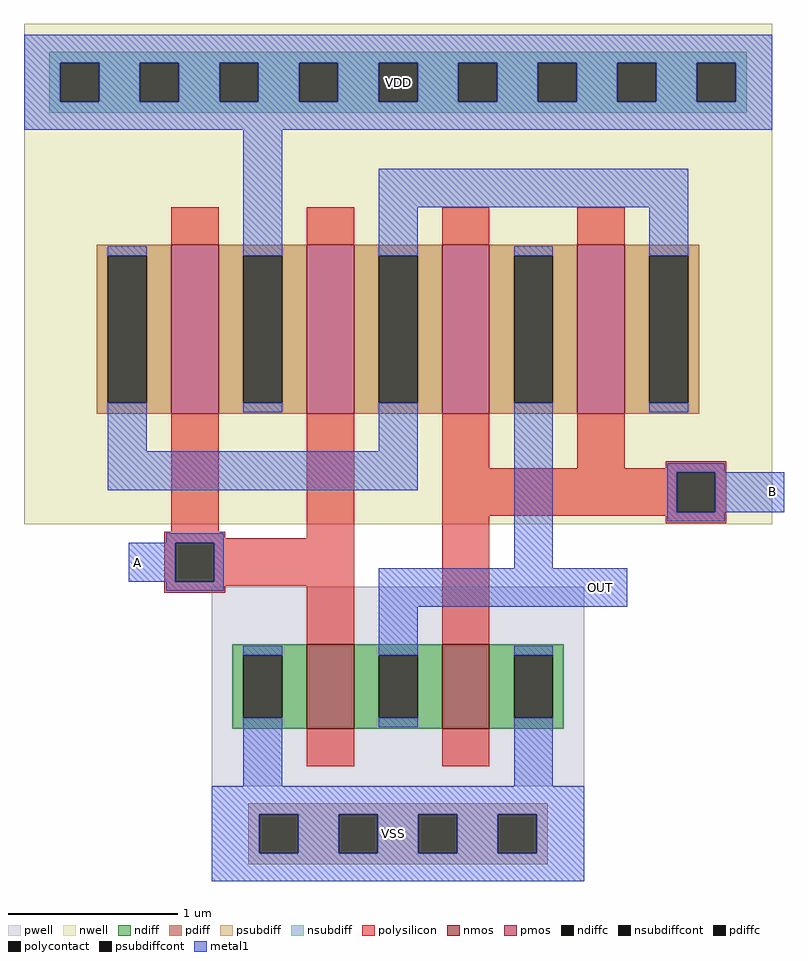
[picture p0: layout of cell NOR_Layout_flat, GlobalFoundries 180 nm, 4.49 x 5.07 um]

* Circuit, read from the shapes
.subckt NOR_Layout_flat A B OUT VDD VSS
XM1 OUT A VSS VSS nfet_03v3 w=0.5u l=0.28u
XM2 VSS B OUT VSS nfet_03v3 w=0.5u l=0.28u
XM3 VDD A n1 VDD pfet_03v3 w=1u l=0.28u m=2
XM4 OUT B n1 VDD pfet_03v3 w=1u l=0.28u m=2
.ends

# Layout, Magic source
magic
tech gf180mcuC
magscale 1 10
<< nwell >>
rect 0 310 884 901
<< pwell >>
rect 222 0 662 236
<< nmos >>
rect 334 68 390 168
rect 494 68 550 168
<< pmos >>
rect 174 440 230 640
rect 334 440 390 640
rect 494 440 550 640
rect 654 440 710 640
<< ndiff >>
rect 246 155 334 168
rect 246 81 259 155
rect 305 81 334 155
rect 246 68 334 81
rect 390 155 494 168
rect 390 81 419 155
rect 465 81 494 155
rect 390 68 494 81
rect 550 155 638 168
rect 550 81 579 155
rect 625 81 638 155
rect 550 68 638 81
<< pdiff >>
rect 86 627 174 640
rect 86 453 99 627
rect 145 453 174 627
rect 86 440 174 453
rect 230 627 334 640
rect 230 453 259 627
rect 305 453 334 627
rect 230 440 334 453
rect 390 627 494 640
rect 390 453 419 627
rect 465 453 494 627
rect 390 440 494 453
rect 550 627 654 640
rect 550 453 579 627
rect 625 453 654 627
rect 550 440 654 453
rect 710 627 798 640
rect 710 453 739 627
rect 785 453 798 627
rect 710 440 798 453
<< ndiffc >>
rect 259 81 305 155
rect 419 81 465 155
rect 579 81 625 155
<< pdiffc >>
rect 99 453 145 627
rect 259 453 305 627
rect 419 453 465 627
rect 579 453 625 627
rect 739 453 785 627
<< psubdiff >>
rect 265 -33 619 -20
rect 265 -79 278 -33
rect 324 -79 372 -33
rect 418 -79 466 -33
rect 512 -79 560 -33
rect 606 -79 619 -33
rect 265 -92 619 -79
<< nsubdiff >>
rect 30 855 854 868
rect 30 809 43 855
rect 89 809 137 855
rect 183 809 231 855
rect 277 809 325 855
rect 371 809 419 855
rect 465 809 513 855
rect 559 809 607 855
rect 653 809 701 855
rect 747 809 795 855
rect 841 809 854 855
rect 30 796 854 809
<< psubdiffcont >>
rect 278 -79 324 -33
rect 372 -79 418 -33
rect 466 -79 512 -33
rect 560 -79 606 -33
<< nsubdiffcont >>
rect 43 809 89 855
rect 137 809 183 855
rect 231 809 277 855
rect 325 809 371 855
rect 419 809 465 855
rect 513 809 559 855
rect 607 809 653 855
rect 701 809 747 855
rect 795 809 841 855
<< polysilicon >>
rect 174 640 230 684
rect 334 640 390 684
rect 494 640 550 684
rect 654 640 710 684
rect 174 301 230 440
rect 166 293 238 301
rect 334 293 390 440
rect 166 288 390 293
rect 166 242 179 288
rect 225 242 390 288
rect 166 237 390 242
rect 166 229 238 237
rect 334 168 390 237
rect 494 376 550 440
rect 654 376 710 440
rect 758 376 830 384
rect 494 371 830 376
rect 494 324 771 371
rect 817 324 830 371
rect 494 320 830 324
rect 494 168 550 320
rect 758 311 830 320
rect 334 24 390 68
rect 494 24 550 68
<< polycontact >>
rect 179 242 225 288
rect 771 324 817 371
<< metal1 >>
rect 0 855 884 888
rect 0 809 43 855
rect 89 809 137 855
rect 183 809 231 855
rect 277 809 325 855
rect 371 809 419 855
rect 465 809 513 855
rect 559 809 607 855
rect 653 809 701 855
rect 747 809 795 855
rect 841 809 884 855
rect 0 776 884 809
rect 99 627 145 638
rect 99 396 145 453
rect 259 627 305 776
rect 259 442 305 453
rect 419 684 785 730
rect 419 627 465 684
rect 419 396 465 453
rect 99 350 465 396
rect 579 627 625 638
rect 168 288 236 299
rect 124 242 179 288
rect 225 242 236 288
rect 579 258 625 453
rect 739 627 785 684
rect 739 442 785 453
rect 760 371 828 382
rect 760 324 771 371
rect 817 324 898 371
rect 760 313 828 324
rect 168 231 236 242
rect 419 212 713 258
rect 259 155 305 166
rect 259 0 305 81
rect 419 155 465 212
rect 419 70 465 81
rect 579 155 625 166
rect 579 0 625 81
rect 222 -33 662 0
rect 222 -79 278 -33
rect 324 -79 372 -33
rect 418 -79 466 -33
rect 512 -79 560 -33
rect 606 -79 662 -33
rect 222 -112 662 -79
<< labels >>
flabel metal1 134 265 134 265 0 FreeSans 320 0 0 0 A
port 0 nsew
flabel metal1 884 348 884 348 0 FreeSans 320 0 0 0 B
port 1 nsew
flabel metal1 681 235 681 235 0 FreeSans 320 0 0 0 OUT
port 4 nsew
flabel nsubdiffcont 442 832 442 832 0 FreeSans 320 0 0 0 VDD
port 6 nsew
flabel metal1 437 -56 437 -56 0 FreeSans 320 0 0 0 VSS
port 7 nsew
<< end >>
